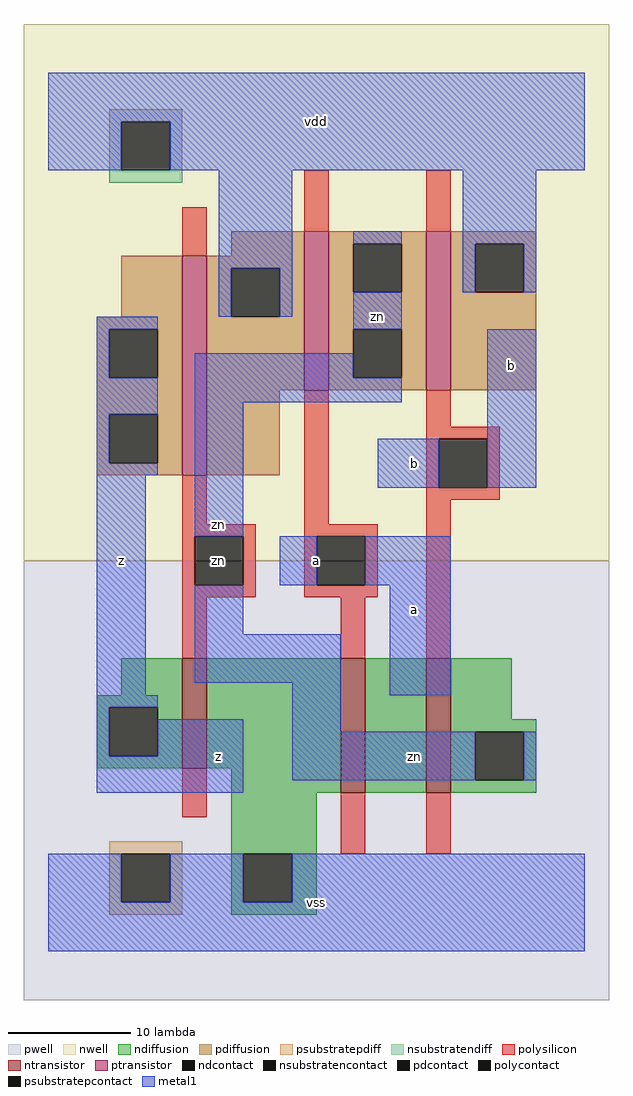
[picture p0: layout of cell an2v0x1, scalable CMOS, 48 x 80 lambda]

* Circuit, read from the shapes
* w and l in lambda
.subckt an2v0x1 a b vdd vss z zn
M1 vss zn z vss nfet w=9 l=2
M2 n1 a vss vss nfet w=11 l=2
M3 zn b n1 vss nfet w=11 l=2
M4 vdd zn z vdd pfet w=18 l=2
M5 zn a vdd vdd pfet w=13 l=2
M6 vdd b zn vdd pfet w=13 l=2
.ends

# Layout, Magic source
magic
tech scmos
<< pwell >>
rect -4 -4 44 32
<< nwell >>
rect -4 32 44 76
<< polysilicon >>
rect 9 57 11 61
rect 19 59 21 64
rect 29 59 31 64
rect 9 35 11 39
rect 19 35 21 46
rect 29 43 31 46
rect 29 42 35 43
rect 29 38 30 42
rect 34 38 35 42
rect 29 37 35 38
rect 9 34 15 35
rect 9 30 10 34
rect 14 30 15 34
rect 9 29 15 30
rect 19 34 25 35
rect 19 30 20 34
rect 24 30 25 34
rect 19 29 25 30
rect 9 24 11 29
rect 22 24 24 29
rect 29 24 31 37
rect 9 11 11 15
rect 22 8 24 13
rect 29 8 31 13
<< ndiffusion >>
rect 4 21 9 24
rect 2 20 9 21
rect 2 16 3 20
rect 7 16 9 20
rect 2 15 9 16
rect 11 15 22 24
rect 13 13 22 15
rect 24 13 29 24
rect 31 19 36 24
rect 31 18 38 19
rect 31 14 33 18
rect 37 14 38 18
rect 31 13 38 14
rect 13 8 20 13
rect 13 4 14 8
rect 18 4 20 8
rect 13 3 20 4
<< pdiffusion >>
rect 13 57 19 59
rect 4 52 9 57
rect 2 51 9 52
rect 2 47 3 51
rect 7 47 9 51
rect 2 44 9 47
rect 2 40 3 44
rect 7 40 9 44
rect 2 39 9 40
rect 11 56 19 57
rect 11 52 13 56
rect 17 52 19 56
rect 11 46 19 52
rect 21 58 29 59
rect 21 54 23 58
rect 27 54 29 58
rect 21 51 29 54
rect 21 47 23 51
rect 27 47 29 51
rect 21 46 29 47
rect 31 58 38 59
rect 31 54 33 58
rect 37 54 38 58
rect 31 46 38 54
rect 11 39 17 46
<< metal1 >>
rect -2 68 42 72
rect -2 64 4 68
rect 8 64 42 68
rect 12 56 18 64
rect 12 52 13 56
rect 17 52 18 56
rect 23 58 27 59
rect 32 58 38 64
rect 32 54 33 58
rect 37 54 38 58
rect 2 51 7 52
rect 2 47 3 51
rect 23 51 27 54
rect 2 44 7 47
rect 2 40 3 44
rect 2 39 7 40
rect 10 47 23 49
rect 10 45 27 47
rect 2 21 6 39
rect 10 34 14 45
rect 25 38 30 42
rect 34 38 38 51
rect 17 30 20 34
rect 24 30 31 34
rect 10 26 14 30
rect 10 22 22 26
rect 2 20 7 21
rect 2 16 3 20
rect 7 16 14 19
rect 2 13 14 16
rect 18 18 22 22
rect 26 21 31 30
rect 18 14 33 18
rect 37 14 38 18
rect -2 4 4 8
rect 8 4 14 8
rect 18 4 42 8
rect -2 0 42 4
<< ntransistor >>
rect 9 15 11 24
rect 22 13 24 24
rect 29 13 31 24
<< ptransistor >>
rect 9 39 11 57
rect 19 46 21 59
rect 29 46 31 59
<< polycontact >>
rect 30 38 34 42
rect 10 30 14 34
rect 20 30 24 34
<< ndcontact >>
rect 3 16 7 20
rect 33 14 37 18
rect 14 4 18 8
<< pdcontact >>
rect 3 47 7 51
rect 3 40 7 44
rect 13 52 17 56
rect 23 54 27 58
rect 23 47 27 51
rect 33 54 37 58
<< psubstratepcontact >>
rect 4 4 8 8
<< nsubstratencontact >>
rect 4 64 8 68
<< psubstratepdiff >>
rect 3 8 9 9
rect 3 4 4 8
rect 8 4 9 8
rect 3 3 9 4
<< nsubstratendiff >>
rect 3 68 9 69
rect 3 64 4 68
rect 8 64 9 68
rect 3 63 9 64
<< labels >>
rlabel polycontact 12 32 12 32 6 zn
rlabel metal1 4 32 4 32 6 z
rlabel metal1 12 16 12 16 6 z
rlabel metal1 12 35 12 35 6 zn
rlabel metal1 20 4 20 4 6 vss
rlabel metal1 20 32 20 32 6 a
rlabel metal1 28 28 28 28 6 a
rlabel metal1 28 40 28 40 6 b
rlabel metal1 25 52 25 52 6 zn
rlabel metal1 20 68 20 68 6 vdd
rlabel metal1 28 16 28 16 6 zn
rlabel metal1 36 48 36 48 6 b
<< end >>
